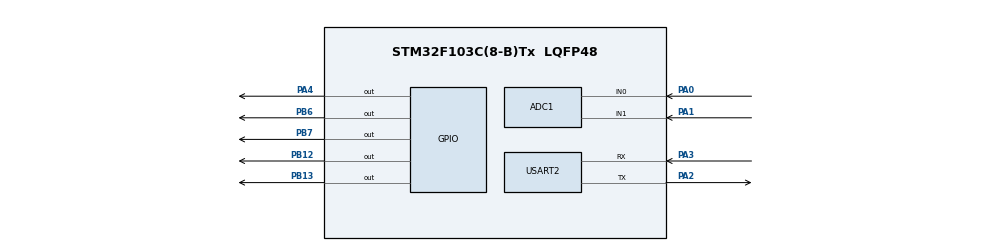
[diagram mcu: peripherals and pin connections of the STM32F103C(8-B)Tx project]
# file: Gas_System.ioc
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ADC1.Channel-0\#ChannelRegularConversion=ADC_CHANNEL_0
ADC1.NbrOfConversionFlag=1
ADC1.Rank-0\#ChannelRegularConversion=1
ADC1.SamplingTime-0\#ChannelRegularConversion=ADC_SAMPLETIME_1CYCLE_5
ADC1.master=1
Mcu.Family=STM32F1
Mcu.Name=STM32F103C(8-B)Tx
Mcu.Package=LQFP48
NVIC.PriorityGroup=NVIC_PRIORITYGROUP_4
NVIC.USART2_IRQn=true\:0\:0\:false\:false\:true\:true\:true\:true
PA0-WKUP.Signal=ADCx_IN0
PA1.Signal=ADCx_IN1
PA13.Mode=Serial_Wire
PA13.Signal=SYS_JTMS-SWDIO
PA14.Mode=Serial_Wire
PA14.Signal=SYS_JTCK-SWCLK
PA2.Mode=Asynchronous
PA2.Signal=USART2_TX
PA3.Mode=Asynchronous
PA3.Signal=USART2_RX
PA4.Signal=GPIO_Output
PB12.Signal=GPIO_Output
PB13.Signal=GPIO_Output
PB6.Signal=GPIO_Output
PB7.Signal=GPIO_Output
PD0-OSC_IN.Mode=HSE-External-Oscillator
PD0-OSC_IN.Signal=RCC_OSC_IN
PD1-OSC_OUT.Mode=HSE-External-Oscillator
PD1-OSC_OUT.Signal=RCC_OSC_OUT
ProjectManager.HeapSize=0x800
ProjectManager.StackSize=0x1000
ProjectManager.TargetToolchain=MDK-ARM V5.32
RCC.APB1Freq_Value=8000000
RCC.APB2Freq_Value=8000000
SH.ADCx_IN0.0=ADC1_IN0,IN0
SH.ADCx_IN1.0=ADC1_IN1,IN1
USART2.VirtualMode=VM_ASYNC
board=custom

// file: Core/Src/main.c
/* USER CODE BEGIN Header */
/**
  ******************************************************************************
  * @file           : main.c
  * @brief          : Main program body
  ******************************************************************************
  * @attention
  *
  * Copyright (c) 2026 STMicroelectronics.
  * All rights reserved.
  *
  * This software is licensed under terms that can be found in the LICENSE file
  * in the root directory of this software component.
  * If no LICENSE file comes with this software, it is provided AS-IS.
  *
  ******************************************************************************
  */
/* USER CODE END Header */
#include "main.h"

/* USER CODE BEGIN Includes */
#include "oled.h"
#include "dht11.h"
#include "esp8266.h"
/* USER CODE END Includes */

ADC_HandleTypeDef hadc1;

UART_HandleTypeDef huart2;

/* USER CODE BEGIN PV */
uint32_t mq2_val = 0;
uint32_t mq135_val = 0;
uint8_t temp = 0;        /* DHT11 temperature (deg C) */
uint8_t humi = 0;        /* DHT11 humidity (%RH) */
/* USER CODE END PV */

void SystemClock_Config(void);
static void MX_GPIO_Init(void);
static void MX_ADC1_Init(void);
static void MX_USART2_UART_Init(void);

/* USER CODE BEGIN 0 */
/* ADC single-channel read with timeout.
   SamplingTime = 71.5 cycles for noise immunity on MQ sensors. */
uint32_t Get_ADC_Value(uint32_t Channel)
{
    ADC_ChannelConfTypeDef sConfig = {0};

    sConfig.Channel = Channel;
    sConfig.Rank = ADC_REGULAR_RANK_1;
    sConfig.SamplingTime = ADC_SAMPLETIME_71CYCLES_5;
    HAL_ADC_ConfigChannel(&hadc1, &sConfig);

    HAL_ADC_Start(&hadc1);

    /* 10ms timeout — return 0 instead of blocking on failure */
    if (HAL_ADC_PollForConversion(&hadc1, 10) == HAL_OK)
    {
        uint32_t val = HAL_ADC_GetValue(&hadc1);
        HAL_ADC_Stop(&hadc1);
        return val;
    }

    HAL_ADC_Stop(&hadc1);
    return 0;
}
/* USER CODE END 0 */

int main(void)
{

  /* MCU Configuration--------------------------------------------------------*/

  /* Reset of all peripherals, Initializes the Flash interface and the Systick. */
  HAL_Init();

  /* Configure the system clock */
  SystemClock_Config();

  /* Initialize all configured peripherals */
  MX_GPIO_Init();
  MX_ADC1_Init();
  MX_USART2_UART_Init();
  /* USER CODE BEGIN 2 */
    /* Boot sequence: display init -> WiFi/Cloud connect -> sensor init */
    OLED_Init();
    OLED_Clear();
    OLED_ShowString(0, 0, "System Boot...", 16);
    OLED_Refresh();
    HAL_Delay(500);

    OLED_ShowString(0, 16, "Connect WiFi..", 16);
    OLED_Refresh();

    ESP8266_Init();                             /* WiFi + Bemfa Cloud handshake */

    OLED_ShowString(0, 32, "Cloud Ready!", 16);
    OLED_Refresh();
    HAL_Delay(1000);

    DHT11_Init();
    OLED_Clear();
    OLED_Refresh();
/* USER CODE END 2 */

  /* Infinite loop */
  while (1)
  {

   /* USER CODE BEGIN 3 */
    /* —— Sensor Acquisition —— */
    mq2_val = Get_ADC_Value(ADC_CHANNEL_0);
    mq135_val = Get_ADC_Value(ADC_CHANNEL_1);
    DHT11_Read_Data(&temp, &humi);

    /* —— OLED Display —— */
    OLED_ShowString(0, 0, "MQ-2  :", 16);
    OLED_ShowNum(64, 0, mq2_val, 4, 16);

    OLED_ShowString(0, 16, "MQ-135:", 16);
    OLED_ShowNum(64, 16, mq135_val, 4, 16);

    OLED_ShowString(0, 32, "Temp  :", 16);
    OLED_ShowNum(64, 32, temp, 2, 16);

    OLED_ShowString(0, 48, "Humi  :", 16);
    OLED_ShowNum(64, 48, humi, 2, 16);

    OLED_Refresh();

    /* —— Alarm —— */
    if(mq2_val > 1500 || mq135_val > 1500)
    {
        /* Relay (exhaust fan): keep ON, do not toggle to avoid chatter */
        HAL_GPIO_WritePin(GPIOB, GPIO_PIN_13, GPIO_PIN_SET);

        /* Buzzer toggles every 500ms (driven by loop delay below) */
        HAL_GPIO_TogglePin(GPIOB, GPIO_PIN_12);
    }
    else
    {
        /* Force both OFF on clear to prevent buzzer stuck-latch */
        HAL_GPIO_WritePin(GPIOB, GPIO_PIN_12, GPIO_PIN_RESET);
        HAL_GPIO_WritePin(GPIOB, GPIO_PIN_13, GPIO_PIN_RESET);
    }

    /* —— Cloud Upload (every 5s) —— */
    static uint8_t upload_timer = 0;
    upload_timer++;

    if(upload_timer >= 10)
    {
        ESP8266_SendData(mq2_val, mq135_val, temp, humi);
        upload_timer = 0;
    }

    /* —— Loop delay (500ms)—— */
    HAL_Delay(500);
/* USER CODE END 3 */
}
	}

void SystemClock_Config(void)
{
  RCC_OscInitTypeDef RCC_OscInitStruct = {0};
  RCC_ClkInitTypeDef RCC_ClkInitStruct = {0};
  RCC_PeriphCLKInitTypeDef PeriphClkInit = {0};

  /** Initializes the RCC Oscillators according to the specified parameters
  * in the RCC_OscInitTypeDef structure.
  */
  RCC_OscInitStruct.OscillatorType = RCC_OSCILLATORTYPE_HSI;
  RCC_OscInitStruct.HSIState = RCC_HSI_ON;
  RCC_OscInitStruct.HSICalibrationValue = RCC_HSICALIBRATION_DEFAULT;
  RCC_OscInitStruct.PLL.PLLState = RCC_PLL_NONE;
  if (HAL_RCC_OscConfig(&RCC_OscInitStruct) != HAL_OK)
  {
    Error_Handler();
  }

  /** Initializes the CPU, AHB and APB buses clocks
  */
  RCC_ClkInitStruct.ClockType = RCC_CLOCKTYPE_HCLK|RCC_CLOCKTYPE_SYSCLK
                              |RCC_CLOCKTYPE_PCLK1|RCC_CLOCKTYPE_PCLK2;
  RCC_ClkInitStruct.SYSCLKSource = RCC_SYSCLKSOURCE_HSI;
  RCC_ClkInitStruct.AHBCLKDivider = RCC_SYSCLK_DIV1;
  RCC_ClkInitStruct.APB1CLKDivider = RCC_HCLK_DIV1;
  RCC_ClkInitStruct.APB2CLKDivider = RCC_HCLK_DIV1;

  if (HAL_RCC_ClockConfig(&RCC_ClkInitStruct, FLASH_LATENCY_0) != HAL_OK)
  {
    Error_Handler();
  }
  PeriphClkInit.PeriphClockSelection = RCC_PERIPHCLK_ADC;
  PeriphClkInit.AdcClockSelection = RCC_ADCPCLK2_DIV2;
  if (HAL_RCCEx_PeriphCLKConfig(&PeriphClkInit) != HAL_OK)
  {
    Error_Handler();
  }
}

static void MX_ADC1_Init(void)
{

  ADC_ChannelConfTypeDef sConfig = {0};

  /** Common config
  */
  hadc1.Instance = ADC1;
  hadc1.Init.ScanConvMode = ADC_SCAN_DISABLE;
  hadc1.Init.ContinuousConvMode = DISABLE;
  hadc1.Init.DiscontinuousConvMode = DISABLE;
  hadc1.Init.ExternalTrigConv = ADC_SOFTWARE_START;
  hadc1.Init.DataAlign = ADC_DATAALIGN_RIGHT;
  hadc1.Init.NbrOfConversion = 1;
  if (HAL_ADC_Init(&hadc1) != HAL_OK)
  {
    Error_Handler();
  }

  /** Configure Regular Channel
  */
  sConfig.Channel = ADC_CHANNEL_0;
  sConfig.Rank = ADC_REGULAR_RANK_1;
  sConfig.SamplingTime = ADC_SAMPLETIME_1CYCLE_5;
  if (HAL_ADC_ConfigChannel(&hadc1, &sConfig) != HAL_OK)
  {
    Error_Handler();
  }

}

static void MX_USART2_UART_Init(void)
{

  huart2.Instance = USART2;
  huart2.Init.BaudRate = 115200;
  huart2.Init.WordLength = UART_WORDLENGTH_8B;
  huart2.Init.StopBits = UART_STOPBITS_1;
  huart2.Init.Parity = UART_PARITY_NONE;
  huart2.Init.Mode = UART_MODE_TX_RX;
  huart2.Init.HwFlowCtl = UART_HWCONTROL_NONE;
  huart2.Init.OverSampling = UART_OVERSAMPLING_16;
  if (HAL_UART_Init(&huart2) != HAL_OK)
  {
    Error_Handler();
  }

}

static void MX_GPIO_Init(void)
{
  GPIO_InitTypeDef GPIO_InitStruct = {0};

  /* GPIO Ports Clock Enable */
  __HAL_RCC_GPIOD_CLK_ENABLE();
  __HAL_RCC_GPIOA_CLK_ENABLE();
  __HAL_RCC_GPIOB_CLK_ENABLE();

  /*Configure GPIO pin Output Level */
  HAL_GPIO_WritePin(GPIOA, GPIO_PIN_4, GPIO_PIN_RESET);

  /*Configure GPIO pin Output Level */
  HAL_GPIO_WritePin(GPIOB, GPIO_PIN_12|GPIO_PIN_13|GPIO_PIN_6|GPIO_PIN_7, GPIO_PIN_RESET);

  /*Configure GPIO pin : PA4 */
  GPIO_InitStruct.Pin = GPIO_PIN_4;
  GPIO_InitStruct.Mode = GPIO_MODE_OUTPUT_PP;
  GPIO_InitStruct.Pull = GPIO_NOPULL;
  GPIO_InitStruct.Speed = GPIO_SPEED_FREQ_LOW;
  HAL_GPIO_Init(GPIOA, &GPIO_InitStruct);

  /*Configure GPIO pins : PB12 PB13 PB6 PB7 */
  GPIO_InitStruct.Pin = GPIO_PIN_12|GPIO_PIN_13|GPIO_PIN_6|GPIO_PIN_7;
  GPIO_InitStruct.Mode = GPIO_MODE_OUTPUT_PP;
  GPIO_InitStruct.Pull = GPIO_NOPULL;
  GPIO_InitStruct.Speed = GPIO_SPEED_FREQ_LOW;
  HAL_GPIO_Init(GPIOB, &GPIO_InitStruct);

}

void Error_Handler(void)
{
  __disable_irq();
  while (1)
  {
  }
}
